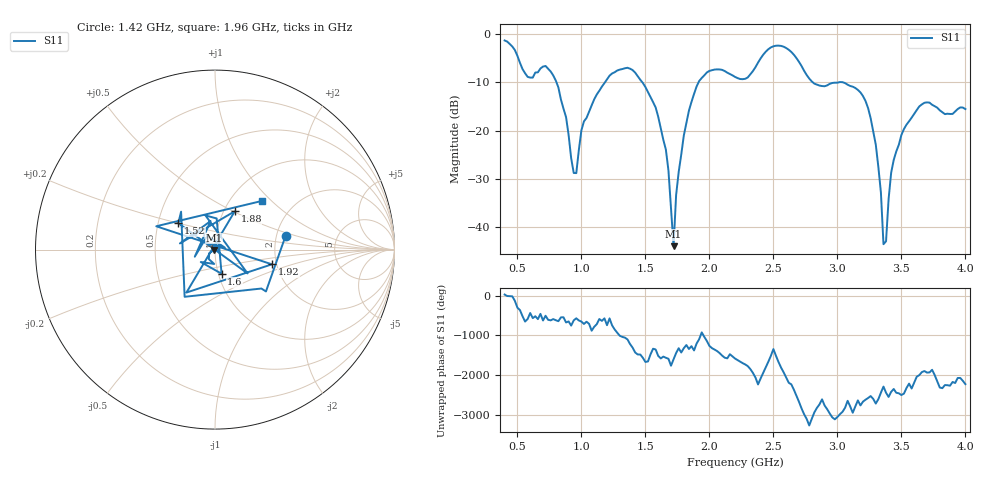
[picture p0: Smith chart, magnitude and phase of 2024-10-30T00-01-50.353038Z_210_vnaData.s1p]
!Created with skrf (http://scikit-rf.org).
# Hz S RI R 50.0
!freq ReS11 ImS11
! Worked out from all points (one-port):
!   181 points, 400 MHz to 4 GHz, reference 50 ohm
!   lowest |S11| = -44.1 dB at 1.72 GHz (marker M1), VSWR 1.01, Z = 49.4 - j0.205 ohm
!   |S11| at or under -10 dB: 805.5 MHz to 1.183 GHz (377.7 MHz wide, 38 % of centre); 1.477 GHz to 1.915 GHz (437.6 MHz wide, 25.8 % of centre); 3.047 GHz to end of sweep (the widest 3 of 4)
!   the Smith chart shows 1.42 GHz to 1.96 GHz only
!   S11 on the Smith chart (normalised r, x): 1.42 GHz: 2.24, +0.41; 1.52 GHz: 0.64, +0.20; 1.6 GHz: 1.04, -0.28; 1.88 GHz: 1.13, +0.51; 1.92 GHz: 1.89, -0.35; 1.96 GHz: 1.38, +0.87
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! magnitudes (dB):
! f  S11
! 400 MHz  -1.3
! 580 MHz  -8.8
! 760 MHz  -7.7
! 860 MHz  -15.4
! 960 MHz  -28.9
! 1.02 GHz  -18.1
! 1.3 GHz  -7.3
! 1.42 GHz  -7.9
! 1.52 GHz  -12.0
! 1.6 GHz  -17.1
! 1.68 GHz  -28.3
! 1.72 GHz  -44.1
! 1.76 GHz  -28.6
! 1.88 GHz  -12.4
! 1.92 GHz  -9.7
! 1.96 GHz  -8.5
! 2.2 GHz  -8.8
! 2.5 GHz  -2.5
! 2.66 GHz  -4.2
! 2.82 GHz  -10.2
! 3.1 GHz  -10.7
! 3.26 GHz  -17.5
! 3.32 GHz  -27.6
! 3.36 GHz  -43.7
! 3.38 GHz  -43.1
! 3.44 GHz  -26.1
! 3.56 GHz  -18.1
! 4 GHz  -15.5
